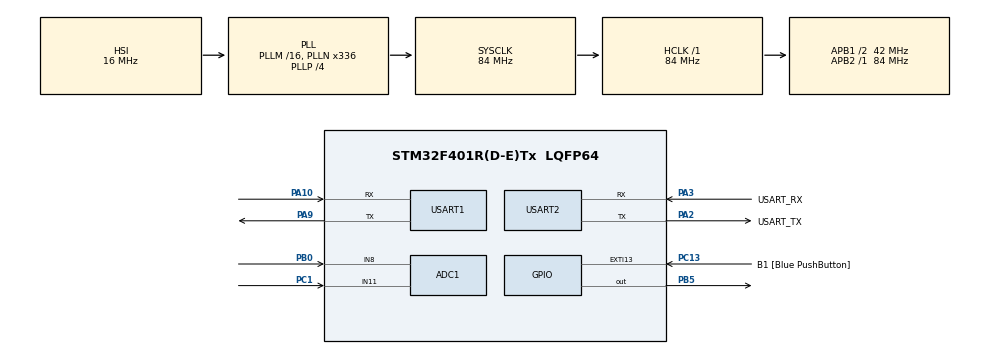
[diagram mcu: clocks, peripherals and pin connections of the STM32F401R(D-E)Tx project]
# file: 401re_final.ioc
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ADC1.Channel-0\#ChannelRegularConversion=ADC_CHANNEL_8
ADC1.Channel-1\#ChannelRegularConversion=ADC_CHANNEL_11
ADC1.NbrOfConversion=2
ADC1.NbrOfConversionFlag=1
ADC1.Rank-0\#ChannelRegularConversion=1
ADC1.Rank-1\#ChannelRegularConversion=2
ADC1.SamplingTime-0\#ChannelRegularConversion=ADC_SAMPLETIME_3CYCLES
ADC1.SamplingTime-1\#ChannelRegularConversion=ADC_SAMPLETIME_3CYCLES
ADC1.ScanConvMode=ENABLE
ADC1.master=1
Mcu.Family=STM32F4
Mcu.Name=STM32F401R(D-E)Tx
Mcu.Package=LQFP64
NVIC.PriorityGroup=NVIC_PRIORITYGROUP_4
PA10.Mode=Asynchronous
PA10.Signal=USART1_RX
PA13.GPIO_Label=TMS
PA13.Mode=Trace_Asynchronous_SW
PA13.Signal=SYS_JTMS-SWDIO
PA14.GPIO_Label=TCK
PA14.Mode=Trace_Asynchronous_SW
PA14.Signal=SYS_JTCK-SWCLK
PA2.GPIO_Label=USART_TX
PA2.GPIO_Mode=GPIO_MODE_AF_PP
PA2.GPIO_PuPd=GPIO_NOPULL
PA2.GPIO_Speed=GPIO_SPEED_FREQ_LOW
PA2.Mode=Asynchronous
PA2.Signal=USART2_TX
PA3.GPIO_Label=USART_RX
PA3.GPIO_Mode=GPIO_MODE_AF_PP
PA3.GPIO_PuPd=GPIO_NOPULL
PA3.GPIO_Speed=GPIO_SPEED_FREQ_LOW
PA3.Mode=Asynchronous
PA3.Signal=USART2_RX
PA9.Mode=Asynchronous
PA9.Signal=USART1_TX
PB0.Signal=ADCx_IN8
PB3.GPIO_Label=SWO
PB3.Mode=Trace_Asynchronous_SW
PB3.Signal=SYS_JTDO-SWO
PB5.Signal=GPIO_Output
PC1.Signal=ADCx_IN11
PC13-ANTI_TAMP.GPIO_Label=B1 [Blue PushButton]
PC13-ANTI_TAMP.GPIO_ModeDefaultEXTI=GPIO_MODE_IT_FALLING
PC13-ANTI_TAMP.GPIO_PuPd=GPIO_NOPULL
PC13-ANTI_TAMP.Signal=GPXTI13
PC14-OSC32_IN.Mode=LSE-External-Oscillator
PC14-OSC32_IN.Signal=RCC_OSC32_IN
PC15-OSC32_OUT.Mode=LSE-External-Oscillator
PC15-OSC32_OUT.Signal=RCC_OSC32_OUT
PH0\ -\ OSC_IN.Mode=HSE-External-Clock-Source
PH0\ -\ OSC_IN.Signal=RCC_OSC_IN
PH1\ -\ OSC_OUT.Mode=HSE-External-Clock-Source
PH1\ -\ OSC_OUT.Signal=RCC_OSC_OUT
ProjectManager.HeapSize=0x200
ProjectManager.StackSize=0x400
ProjectManager.TargetToolchain=STM32CubeIDE
RCC.48MHZClocksFreq_Value=48000000
RCC.AHBFreq_Value=84000000
RCC.APB1CLKDivider=RCC_HCLK_DIV2
RCC.APB1Freq_Value=42000000
RCC.APB1TimFreq_Value=84000000
RCC.APB2Freq_Value=84000000
RCC.APB2TimFreq_Value=84000000
RCC.CortexFreq_Value=84000000
RCC.HCLKFreq_Value=84000000
RCC.HSE_VALUE=8000000
RCC.HSI_VALUE=16000000
RCC.PLLN=336
RCC.PLLP=RCC_PLLP_DIV4
RCC.PLLQ=7
RCC.SYSCLKFreq_VALUE=84000000
RCC.SYSCLKSource=RCC_SYSCLKSOURCE_PLLCLK
RCC.VCOOutputFreq_Value=336000000
SH.ADCx_IN11.0=ADC1_IN11,IN11
SH.ADCx_IN8.0=ADC1_IN8,IN8
USART1.VirtualMode=VM_ASYNC
USART2.VirtualMode=VM_ASYNC
board=NUCLEO-F401RE

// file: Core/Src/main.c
/* USER CODE BEGIN Header */
/**
  ******************************************************************************
  * @file           : main.c
  * @brief          : Main program body
  ******************************************************************************
  */
/* USER CODE END Header */

#include "main.h"
#include "dht11.h"
#include <stdio.h>
#include <string.h>

ADC_HandleTypeDef hadc1;
UART_HandleTypeDef huart1;
UART_HandleTypeDef huart2;

/* USER CODE BEGIN PV */
char rx_buf[128];
char last303[128] = "NO_DATA";
/* USER CODE END PV */

void SystemClock_Config(void);
static void MX_GPIO_Init(void);
static void MX_USART1_UART_Init(void);
static void MX_USART2_UART_Init(void);
static void MX_ADC1_Init(void);

/* USER CODE BEGIN PFP */
static uint8_t Receive_Line_From_303(char *buf, uint16_t maxlen, uint32_t timeout_ms);
static uint16_t Read_ADC_Channel(uint32_t channel);
/* USER CODE END PFP */

/* USER CODE BEGIN 0 */
static uint8_t Receive_Line_From_303(char *buf, uint16_t maxlen, uint32_t timeout_ms)
{
    uint8_t rx;
    uint16_t idx = 0;
    uint32_t start = HAL_GetTick();

    while ((HAL_GetTick() - start) < timeout_ms)
    {
        if (HAL_UART_Receive(&huart1, &rx, 1, 10) == HAL_OK)
        {
            if (rx == '\r')
            {
                continue;
            }
            else if (rx == '\n')
            {
                buf[idx] = '\0';
                return 1;
            }
            else
            {
                if (idx < (maxlen - 1))
                {
                    buf[idx++] = rx;
                }
                else
                {
                    buf[0] = '\0';
                    return 0;
                }
            }
        }
    }

    buf[0] = '\0';
    return 0;
}

static uint16_t Read_ADC_Channel(uint32_t channel)
{
    ADC_ChannelConfTypeDef sConfig = {0};

    sConfig.Channel = channel;
    sConfig.Rank = 1;
    sConfig.SamplingTime = ADC_SAMPLETIME_3CYCLES;

    if (HAL_ADC_ConfigChannel(&hadc1, &sConfig) != HAL_OK)
    {
        return 0;
    }

    HAL_ADC_Start(&hadc1);
    HAL_ADC_PollForConversion(&hadc1, HAL_MAX_DELAY);
    uint16_t value = HAL_ADC_GetValue(&hadc1);
    HAL_ADC_Stop(&hadc1);

    return value;
}
/* USER CODE END 0 */

int main(void)
{
  HAL_Init();
  SystemClock_Config();

  MX_GPIO_Init();
  MX_USART1_UART_Init();   // receives from 303
  MX_USART2_UART_Init();   // terminal
  MX_ADC1_Init();

  DHT11_Init();
  HAL_Delay(2000);

  DHT11_Data_t dht401;
  char out[260];
  uint16_t soil401_1 = 0, soil401_2 = 0;

  char start[] = "F401 started\r\n";
  HAL_UART_Transmit(&huart2, (uint8_t *)start, strlen(start), HAL_MAX_DELAY);

  while (1)
  {
      if (Receive_Line_From_303(rx_buf, sizeof(rx_buf), 2500))
      {
          strcpy(last303, rx_buf);
      }

      int t401 = -1, h401 = -1;
      if (DHT11_ReadData(&dht401) == HAL_OK)
      {
          t401 = (int)dht401.Temperature;
          h401 = (int)dht401.Humidity;
      }

      /* PB0 = ADC_CHANNEL_8 = A3 */
      soil401_1 = Read_ADC_Channel(ADC_CHANNEL_8);

      /* PC1 = ADC_CHANNEL_11 = A4 */
      soil401_2 = Read_ADC_Channel(ADC_CHANNEL_11);

      snprintf(out, sizeof(out),
               "303=[%s] 401[T=%d,H=%d,S1=%u,S2=%u]\r\n",
               last303, t401, h401, soil401_1, soil401_2);

      HAL_UART_Transmit(&huart2, (uint8_t *)out, strlen(out), HAL_MAX_DELAY);
      HAL_UART_Transmit(&huart1, (uint8_t*)out, strlen(out), HAL_MAX_DELAY);

      HAL_Delay(500);
  }
}

void SystemClock_Config(void)
{
  RCC_OscInitTypeDef RCC_OscInitStruct = {0};
  RCC_ClkInitTypeDef RCC_ClkInitStruct = {0};

  /** Configure the main internal regulator output voltage
  */
  __HAL_RCC_PWR_CLK_ENABLE();
  __HAL_PWR_VOLTAGESCALING_CONFIG(PWR_REGULATOR_VOLTAGE_SCALE2);

  /** Initializes the RCC Oscillators according to the specified parameters
  * in the RCC_OscInitTypeDef structure.
  */
  RCC_OscInitStruct.OscillatorType = RCC_OSCILLATORTYPE_HSI;
  RCC_OscInitStruct.HSIState = RCC_HSI_ON;
  RCC_OscInitStruct.HSICalibrationValue = RCC_HSICALIBRATION_DEFAULT;
  RCC_OscInitStruct.PLL.PLLState = RCC_PLL_ON;
  RCC_OscInitStruct.PLL.PLLSource = RCC_PLLSOURCE_HSI;
  RCC_OscInitStruct.PLL.PLLM = 16;
  RCC_OscInitStruct.PLL.PLLN = 336;
  RCC_OscInitStruct.PLL.PLLP = RCC_PLLP_DIV4;
  RCC_OscInitStruct.PLL.PLLQ = 7;
  if (HAL_RCC_OscConfig(&RCC_OscInitStruct) != HAL_OK)
  {
    Error_Handler();
  }

  /** Initializes the CPU, AHB and APB buses clocks
  */
  RCC_ClkInitStruct.ClockType = RCC_CLOCKTYPE_HCLK|RCC_CLOCKTYPE_SYSCLK
                              |RCC_CLOCKTYPE_PCLK1|RCC_CLOCKTYPE_PCLK2;
  RCC_ClkInitStruct.SYSCLKSource = RCC_SYSCLKSOURCE_PLLCLK;
  RCC_ClkInitStruct.AHBCLKDivider = RCC_SYSCLK_DIV1;
  RCC_ClkInitStruct.APB1CLKDivider = RCC_HCLK_DIV2;
  RCC_ClkInitStruct.APB2CLKDivider = RCC_HCLK_DIV1;

  if (HAL_RCC_ClockConfig(&RCC_ClkInitStruct, FLASH_LATENCY_2) != HAL_OK)
  {
    Error_Handler();
  }
}

static void MX_ADC1_Init(void)
{

  ADC_ChannelConfTypeDef sConfig = {0};

  /** Configure the global features of the ADC (Clock, Resolution, Data Alignment and number of conversion)
  */
  hadc1.Instance = ADC1;
  hadc1.Init.ClockPrescaler = ADC_CLOCK_SYNC_PCLK_DIV4;
  hadc1.Init.Resolution = ADC_RESOLUTION_12B;
  hadc1.Init.ScanConvMode = ENABLE;
  hadc1.Init.ContinuousConvMode = DISABLE;
  hadc1.Init.DiscontinuousConvMode = DISABLE;
  hadc1.Init.ExternalTrigConvEdge = ADC_EXTERNALTRIGCONVEDGE_NONE;
  hadc1.Init.ExternalTrigConv = ADC_SOFTWARE_START;
  hadc1.Init.DataAlign = ADC_DATAALIGN_RIGHT;
  hadc1.Init.NbrOfConversion = 2;
  hadc1.Init.DMAContinuousRequests = DISABLE;
  hadc1.Init.EOCSelection = ADC_EOC_SINGLE_CONV;
  if (HAL_ADC_Init(&hadc1) != HAL_OK)
  {
    Error_Handler();
  }

  /** Configure for the selected ADC regular channel its corresponding rank in the sequencer and its sample time.
  */
  sConfig.Channel = ADC_CHANNEL_8;
  sConfig.Rank = 1;
  sConfig.SamplingTime = ADC_SAMPLETIME_3CYCLES;
  if (HAL_ADC_ConfigChannel(&hadc1, &sConfig) != HAL_OK)
  {
    Error_Handler();
  }

  /** Configure for the selected ADC regular channel its corresponding rank in the sequencer and its sample time.
  */

}

static void MX_USART1_UART_Init(void)
{

  huart1.Instance = USART1;
  huart1.Init.BaudRate = 115200;
  huart1.Init.WordLength = UART_WORDLENGTH_8B;
  huart1.Init.StopBits = UART_STOPBITS_1;
  huart1.Init.Parity = UART_PARITY_NONE;
  huart1.Init.Mode = UART_MODE_TX_RX;
  huart1.Init.HwFlowCtl = UART_HWCONTROL_NONE;
  huart1.Init.OverSampling = UART_OVERSAMPLING_16;
  if (HAL_UART_Init(&huart1) != HAL_OK)
  {
    Error_Handler();
  }

}

static void MX_USART2_UART_Init(void)
{

  huart2.Instance = USART2;
  huart2.Init.BaudRate = 115200;
  huart2.Init.WordLength = UART_WORDLENGTH_8B;
  huart2.Init.StopBits = UART_STOPBITS_1;
  huart2.Init.Parity = UART_PARITY_NONE;
  huart2.Init.Mode = UART_MODE_TX_RX;
  huart2.Init.HwFlowCtl = UART_HWCONTROL_NONE;
  huart2.Init.OverSampling = UART_OVERSAMPLING_16;
  if (HAL_UART_Init(&huart2) != HAL_OK)
  {
    Error_Handler();
  }

}

static void MX_GPIO_Init(void)
{
  GPIO_InitTypeDef GPIO_InitStruct = {0};

  /* GPIO Ports Clock Enable */
  __HAL_RCC_GPIOC_CLK_ENABLE();
  __HAL_RCC_GPIOH_CLK_ENABLE();
  __HAL_RCC_GPIOA_CLK_ENABLE();
  __HAL_RCC_GPIOB_CLK_ENABLE();

  /*Configure GPIO pin Output Level */
  HAL_GPIO_WritePin(GPIOB, GPIO_PIN_5, GPIO_PIN_RESET);

  /*Configure GPIO pin : B1_Pin */
  GPIO_InitStruct.Pin = B1_Pin;
  GPIO_InitStruct.Mode = GPIO_MODE_IT_FALLING;
  GPIO_InitStruct.Pull = GPIO_NOPULL;
  HAL_GPIO_Init(B1_GPIO_Port, &GPIO_InitStruct);

  /*Configure GPIO pin : PB5 */
  GPIO_InitStruct.Pin = GPIO_PIN_5;
  GPIO_InitStruct.Mode = GPIO_MODE_OUTPUT_PP;
  GPIO_InitStruct.Pull = GPIO_NOPULL;
  GPIO_InitStruct.Speed = GPIO_SPEED_FREQ_LOW;
  HAL_GPIO_Init(GPIOB, &GPIO_InitStruct);

}

void Error_Handler(void)
{
  __disable_irq();
  while (1)
  {
  }
}
